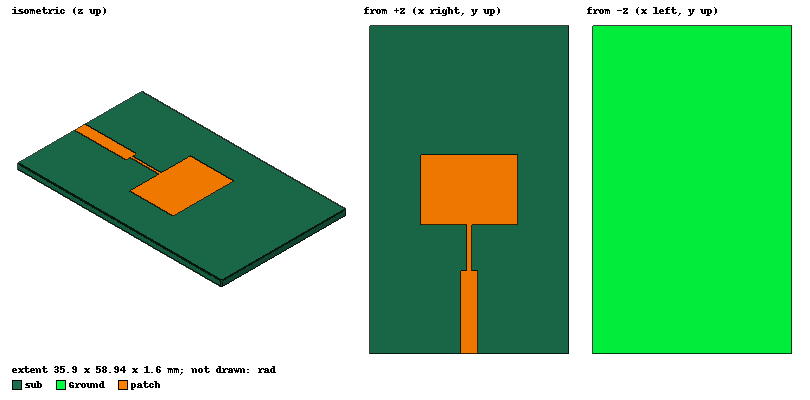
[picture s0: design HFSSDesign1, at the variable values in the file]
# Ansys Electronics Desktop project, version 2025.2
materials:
  vacuum: permittivity=1
  FR4_epoxy: permittivity=4.4 dielectric_loss_tangent=0.02

design HFSSDesign1 (HFSS, HFSS Terminal Network, model units mm)
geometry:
  sub [FR4_epoxy] = box(corner=(-17.95mm, 0mm, -1.6mm), size=(35.9mm, 58.94mm, 1.6mm))
  patch = rectangle(corner=(-8.78mm, 23.19mm, 0mm), x_size=17.56mm, y_size=12.56mm)
  Ground = rectangle(corner=(-17.95mm, 0mm, -1.6mm), x_size=35.9mm, y_size=58.94mm)
  Rectangle2 = rectangle(corner=(-1.5295mm, 14.896mm, 0mm), x_size=3.059mm, y_size=-14.896mm)
  Rectangle3 = rectangle(corner=(-0.3615mm, 23.19mm, 0mm), x_size=0.723mm, y_size=-8.294mm)
  patch.unite(Rectangle2, Rectangle3)
  rad [vacuum] = box(corner=(-32.37mm, -14.32mm, -16.02mm), size=(64.74mm, 87.68mm, 30.44mm))
  Rectangle4 = rectangle(corner=(-1.5295mm, 0mm, 0mm), z_size=-1.6mm, x_size=3.059mm)
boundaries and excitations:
  PerfE1: Perfect E Objects=[Ground, patch]
  Rad1: Radiation Objects=rad
  patch_T1: Terminal port=1 Edges=patch.edge(at (0, 0, 0)) TerminalResistance=50ohm
  1: Lumped Port Faces=Rectangle4.face LumpedPortType=Terminal Impedance=50ohm
  reference conductors: Ground
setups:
  Setup1: HfssDriven Frequency=5.2GHz MaxDeltaS=0.02 MaximumPasses=15 MinimumPasses=1 MinimumConvergedPasses=1 PercentRefinement=30 BasisOrder=-1 PortAccuracy=2 DrivenSolverType="Iterative Solver" IterativeResidual=0.0001 DDMSolverResidual=0.0001
    sweep Sweep: 3GHz to 7GHz, 501 points; Type=Interpolating InterpTolerance=0.5 InterpMaxSolns=250 PassivityErrorTolerance=0.0001
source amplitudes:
  1:1: 1V 0deg
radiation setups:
  Infinite Sphere1: Infinite Sphere Theta=-180deg..180deg step 2deg Phi=0deg..360deg step 2deg
  Infinite Sphere2: Infinite Sphere Theta=-180deg..180deg step 2deg Phi=0deg..360deg step 2deg
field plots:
  Mag_E1: E Field in sub on Setup1 : LastAdaptive at Freq=5.2GHz Phase=0deg
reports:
  Terminal S Parameter Plot1: dB(St(patch_T1,patch_T1)) vs Freq on Setup1 : Sweep
  Terminal VSWR Plot1: VSWRt(patch_T1) vs Freq on Setup1 : Sweep
